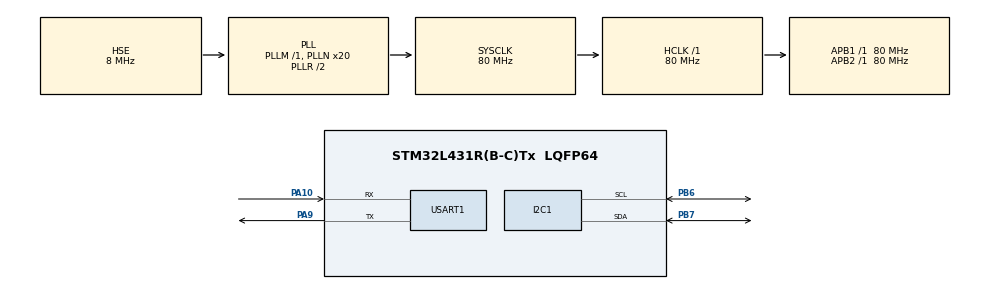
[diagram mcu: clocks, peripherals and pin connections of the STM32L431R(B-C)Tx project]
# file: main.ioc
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I2C1.Timing=0x10909CEC
Mcu.Family=STM32L4
Mcu.Name=STM32L431R(B-C)Tx
Mcu.Package=LQFP64
NVIC.PriorityGroup=NVIC_PRIORITYGROUP_4
PA10.Mode=Asynchronous
PA10.Signal=USART1_RX
PA9.Mode=Asynchronous
PA9.Signal=USART1_TX
PB6.Mode=I2C
PB6.Signal=I2C1_SCL
PB7.Mode=I2C
PB7.Signal=I2C1_SDA
PH0-OSC_IN\ (PH0).Mode=HSE-External-Oscillator
PH0-OSC_IN\ (PH0).Signal=RCC_OSC_IN
PH1-OSC_OUT\ (PH1).Mode=HSE-External-Oscillator
PH1-OSC_OUT\ (PH1).Signal=RCC_OSC_OUT
ProjectManager.HeapSize=0x200
ProjectManager.StackSize=0x400
ProjectManager.TargetToolchain=MDK-ARM V5
RCC.ADCFreq_Value=32000000
RCC.AHBFreq_Value=80000000
RCC.APB1Freq_Value=80000000
RCC.APB1TimFreq_Value=80000000
RCC.APB2Freq_Value=80000000
RCC.APB2TimFreq_Value=80000000
RCC.CortexFreq_Value=80000000
RCC.HCLKFreq_Value=80000000
RCC.HSE_VALUE=8000000
RCC.HSI48_VALUE=48000000
RCC.HSI_VALUE=16000000
RCC.LSE_VALUE=32768
RCC.MSI_VALUE=4000000
RCC.PLLN=20
RCC.PLLSourceVirtual=RCC_PLLSOURCE_HSE
RCC.SYSCLKFreq_VALUE=80000000
RCC.SYSCLKSource=RCC_SYSCLKSOURCE_PLLCLK
RCC.VCOOutputFreq_Value=160000000
USART1.VirtualMode-Asynchronous=VM_ASYNC
board=custom

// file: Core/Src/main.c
/* USER CODE BEGIN Header */
/**
  ******************************************************************************
  * @file           : main.c
  * @brief          : Main program body
  ******************************************************************************
  * @attention
  *
  * <h2><center>&copy; Copyright (c) 2021 STMicroelectronics.
  * All rights reserved.</center></h2>
  *
  * This software component is licensed by ST under BSD 3-Clause license,
  * the "License"; You may not use this file except in compliance with the
  * License. You may obtain a copy of the License at:
  *                        opensource.org/licenses/BSD-3-Clause
  *
  ******************************************************************************
  */
/* USER CODE END Header */
#include "main.h"
#include "i2c.h"
#include "usart.h"
#include "gpio.h"

/* USER CODE BEGIN Includes */
#include "at24c02_i2c_drv.h"
/* USER CODE END Includes */

/* USER CODE BEGIN PTD */
typedef struct
{
	//LED状态
	uint8_t led_status ;
	//电机状态
	uint8_t motor_status ;
	//蜂鸣器状态
	uint8_t buzzer_status ;
	//网络状态
	uint8_t network_status ;
	//语言版本
	uint8_t language_version ;
	//设备密码
	uint8_t device_password[4] ;
	//报警阈值1
	uint16_t alarm_threshold1 ;
	//报警阈值2
	uint16_t alarm_threshold2 ;
	//报警阈值3
	uint16_t alarm_threshold3 ;
}System_Param ;
System_Param device_system_para ;
System_Param device_system_para_cpy ;

//设备系统参数初始化
void init_device_system_para(void)
{
	/*初始化系统参数*/
	uint8_t index = 0 ;
	device_system_para.led_status = 1 ;
	device_system_para.motor_status = 1 ;
	device_system_para.buzzer_status = 0 ;
	device_system_para.network_status = 0 ;
	device_system_para.language_version = 0 ;
	for(index = 0 ; index < 4 ; index++)
		device_system_para.device_password[index] = 1 ;
	device_system_para.alarm_threshold1 = 2000 ;
	device_system_para.alarm_threshold2 = 1450 ;
	device_system_para.alarm_threshold3 = 1750 ;
	/*将参数写入EEPROM*/
	printf("参数长度:%d\n",sizeof(device_system_para));
	if(HAL_OK == At24c02_Write_Byte(0,(uint8_t *)&device_system_para,sizeof(device_system_para)))
		printf("写入参数成功\n");
	else
		printf("写入参数失败\n");
}

//设备系统参数修改
void modify_device_system_para(void)
{
	/*初始化系统参数*/
	uint8_t index = 0 ;
	device_system_para.led_status = 0 ;
	device_system_para.motor_status = 1 ;
	device_system_para.buzzer_status = 1 ;
	device_system_para.network_status = 0 ;
	device_system_para.language_version = 1 ;
	for(index = 0 ; index < 4 ; index++)
		device_system_para.device_password[index] = 2 ;
	device_system_para.alarm_threshold1 = 1000 ;
	device_system_para.alarm_threshold2 = 1200 ;
	device_system_para.alarm_threshold3 = 1500 ;
	/*将参数写入EEPROM*/
	if(HAL_OK == At24c02_Write_Byte(0,(uint8_t *)&device_system_para,sizeof(device_system_para)))
		printf("写入参数成功\n");
	else
		printf("写入参数失败\n");
}

//设备系统参数加载
void device_system_para_load(void)
{
	if(HAL_OK == At24c02_Read_Byte(0,(uint8_t *)&device_system_para_cpy,sizeof(System_Param)))
	{
		printf("开始读取系统参数\n");
		printf("led_status=%d\n",device_system_para_cpy.led_status);
		printf("motor_status=%d\n",device_system_para_cpy.motor_status);
		printf("buzzer_status=%d\n",device_system_para_cpy.buzzer_status);
		printf("network_status=%d\n",device_system_para_cpy.network_status);
		printf("language_version=%d\n",device_system_para_cpy.language_version);
		printf("language_version=%d\n",device_system_para_cpy.language_version);
		printf("password=%d%d%d%d\n",device_system_para_cpy.device_password[0],\
		device_system_para_cpy.device_password[1],device_system_para_cpy.device_password[2],\
		device_system_para_cpy.device_password[3]);
		printf("alarm_threshold1=%d\n",device_system_para_cpy.alarm_threshold1);
		printf("alarm_threshold2=%d\n",device_system_para_cpy.alarm_threshold2);
		printf("alarm_threshold3=%d\n",device_system_para_cpy.alarm_threshold3);
	}
	else
	{
		printf("读取参数失败\n");
	}
}
/* USER CODE END PTD */

void SystemClock_Config(void);

int main(void)
{

  /* MCU Configuration--------------------------------------------------------*/

  /* Reset of all peripherals, Initializes the Flash interface and the Systick. */
  HAL_Init();

  /* Configure the system clock */
  SystemClock_Config();

  /* Initialize all configured peripherals */
  MX_GPIO_Init();
  MX_I2C1_Init();
  MX_USART1_UART_Init();
  /* USER CODE BEGIN 2 */
	//加载数据
	printf("加载之前FLASH的数据:\n");
	device_system_para_load();
	HAL_Delay(100);
	//初始化数据
	printf("加载第一次写入FLASH的数据:\n");
	init_device_system_para();
	device_system_para_load();
	HAL_Delay(100);
	//修改数据
	printf("加载修改后写入FLASH的数据:\n");
	modify_device_system_para();
	device_system_para_load();
	HAL_Delay(100);
  /* USER CODE END 2 */

  /* Infinite loop */
  while (1)
  {

  }
}

void SystemClock_Config(void)
{
  RCC_OscInitTypeDef RCC_OscInitStruct = {0};
  RCC_ClkInitTypeDef RCC_ClkInitStruct = {0};
  RCC_PeriphCLKInitTypeDef PeriphClkInit = {0};

  /** Initializes the RCC Oscillators according to the specified parameters
  * in the RCC_OscInitTypeDef structure.
  */
  RCC_OscInitStruct.OscillatorType = RCC_OSCILLATORTYPE_HSE;
  RCC_OscInitStruct.HSEState = RCC_HSE_ON;
  RCC_OscInitStruct.PLL.PLLState = RCC_PLL_ON;
  RCC_OscInitStruct.PLL.PLLSource = RCC_PLLSOURCE_HSE;
  RCC_OscInitStruct.PLL.PLLM = 1;
  RCC_OscInitStruct.PLL.PLLN = 20;
  RCC_OscInitStruct.PLL.PLLP = RCC_PLLP_DIV7;
  RCC_OscInitStruct.PLL.PLLQ = RCC_PLLQ_DIV2;
  RCC_OscInitStruct.PLL.PLLR = RCC_PLLR_DIV2;
  if (HAL_RCC_OscConfig(&RCC_OscInitStruct) != HAL_OK)
  {
    Error_Handler();
  }
  /** Initializes the CPU, AHB and APB buses clocks
  */
  RCC_ClkInitStruct.ClockType = RCC_CLOCKTYPE_HCLK|RCC_CLOCKTYPE_SYSCLK
                              |RCC_CLOCKTYPE_PCLK1|RCC_CLOCKTYPE_PCLK2;
  RCC_ClkInitStruct.SYSCLKSource = RCC_SYSCLKSOURCE_PLLCLK;
  RCC_ClkInitStruct.AHBCLKDivider = RCC_SYSCLK_DIV1;
  RCC_ClkInitStruct.APB1CLKDivider = RCC_HCLK_DIV1;
  RCC_ClkInitStruct.APB2CLKDivider = RCC_HCLK_DIV1;

  if (HAL_RCC_ClockConfig(&RCC_ClkInitStruct, FLASH_LATENCY_4) != HAL_OK)
  {
    Error_Handler();
  }
  PeriphClkInit.PeriphClockSelection = RCC_PERIPHCLK_USART1|RCC_PERIPHCLK_I2C1;
  PeriphClkInit.Usart1ClockSelection = RCC_USART1CLKSOURCE_PCLK2;
  PeriphClkInit.I2c1ClockSelection = RCC_I2C1CLKSOURCE_PCLK1;
  if (HAL_RCCEx_PeriphCLKConfig(&PeriphClkInit) != HAL_OK)
  {
    Error_Handler();
  }
  /** Configure the main internal regulator output voltage
  */
  if (HAL_PWREx_ControlVoltageScaling(PWR_REGULATOR_VOLTAGE_SCALE1) != HAL_OK)
  {
    Error_Handler();
  }
}

void Error_Handler(void)
{
}

/************************ (C) COPYRIGHT STMicroelectronics *****END OF FILE****/
